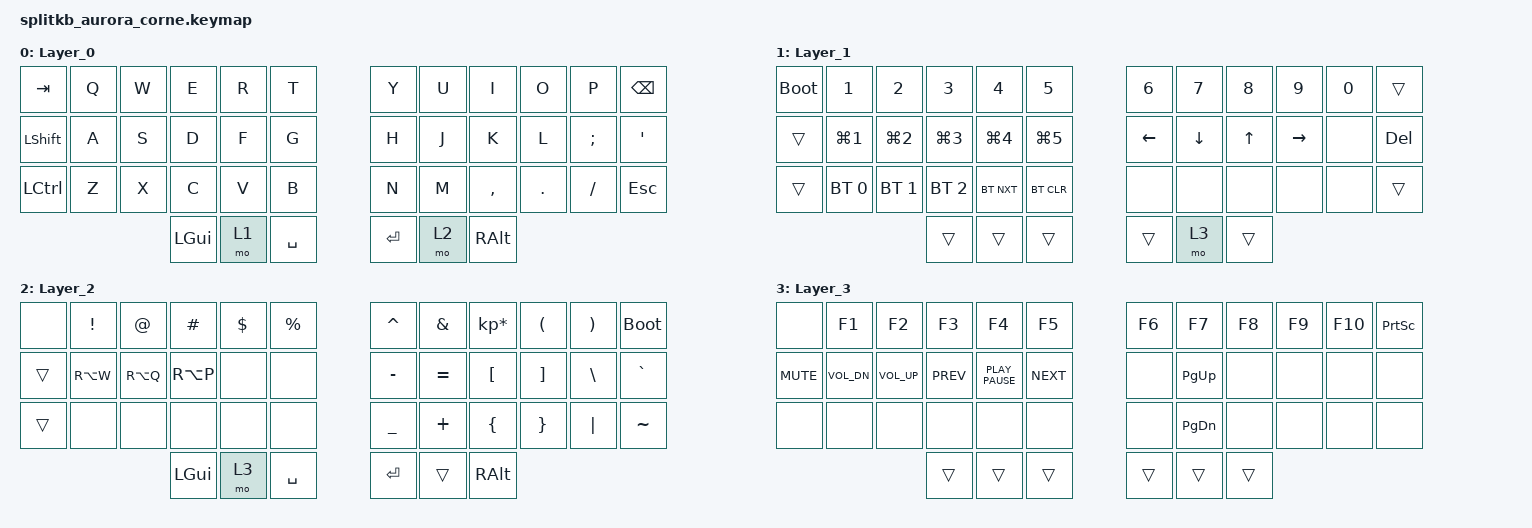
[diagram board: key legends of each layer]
/*
 * Copyright (c) 2020 The ZMK Contributors
 *
 * SPDX-License-Identifier: MIT
 */

#include <behaviors.dtsi>
#include <dt-bindings/zmk/keys.h>
#include <dt-bindings/zmk/bt.h>

/ {
    keymap {
        compatible = "zmk,keymap";

        Layer_0 {
            // -----------------------------------------------------------------------------------------
            // |  TAB |  Q  |  W  |  E  |  R  |  T  |   |  Y  |  U   |  I  |  O  |  P  | BKSP |
            // | CTRL |  A  |  S  |  D  |  F  |  G  |   |  H  |  J   |  K  |  L  |  ;  |  '   |
            // | SHFT |  Z  |  X  |  C  |  V  |  B  |   |  N  |  M   |  ,  |  .  |  /  | ESC  |
            //                    | GUI | LWR | SPC |   | ENT | RSE  | ALT |

            bindings = <
          &kp TAB   &kp Q   &kp W     &kp E   &kp R      &kp T    &kp Y   &kp U      &kp I    &kp O     &kp P  &kp BSPC
   &kp LEFT_SHIFT   &kp A   &kp S     &kp D   &kp F      &kp G    &kp H   &kp J      &kp K    &kp L  &kp SEMI   &kp SQT
 &kp LEFT_CONTROL   &kp Z   &kp X     &kp C   &kp V      &kp B    &kp N   &kp M  &kp COMMA  &kp DOT  &kp FSLH   &kp ESC
                                   &kp LGUI   &mo 1  &kp SPACE  &kp RET   &mo 2   &kp RALT
            >;
        };

        Layer_1 {
            // -----------------------------------------------------------------------------------------
            // |  TAB |  1  |  2  |  3  |  4  |  5  |   |  6  |  7  |  8  |  9  |  0  | BKSP |
            // | BTCLR| BT1 | BT2 | BT3 | BT4 | BT5 |   | LFT | DWN |  UP | RGT |     |      |
            // | SHFT |     |     |     |     |     |   |     |     |     |     |     |      |
            //                    | GUI |     | SPC |   | ENT |     | ALT |

            bindings = <
 &bootloader            &kp N1            &kp N2            &kp N3            &kp N4            &kp N5    &kp N6    &kp N7  &kp N8     &kp N9  &kp N0      &trans
      &trans  &kp LG(NUMBER_1)  &kp LG(NUMBER_2)  &kp LG(NUMBER_3)  &kp LG(NUMBER_4)  &kp LG(NUMBER_5)  &kp LEFT  &kp DOWN  &kp UP  &kp RIGHT   &none  &kp DELETE
      &trans      &bt BT_SEL 0      &bt BT_SEL 1      &bt BT_SEL 2        &bt BT_NXT        &bt BT_CLR     &none     &none   &none      &none   &none      &trans
                                                            &trans            &trans            &trans    &trans     &mo 3  &trans
            >;
        };

        Layer_2 {
            // -----------------------------------------------------------------------------------------
            // |  TAB |  !  |  @  |  #  |  $  |  %  |   |  ^  |  &  |  *  |  (  |  )  | BKSP |
            // | CTRL |     |     |     |     |     |   |  -  |  =  |  [  |  ]  |  \  |  `   |
            // | SHFT |     |     |     |     |     |   |  _  |  +  |  {  |  }  | "|" |  ~   |
            //                    | GUI |     | SPC |   | ENT |     | ALT |

            bindings = <
  &none   &kp EXCL     &kp AT   &kp HASH  &kp DLLR  &kp PRCNT  &kp CARET   &kp AMPS  &kp KP_MULTIPLY  &kp LPAR  &kp RPAR  &bootloader
 &trans  &kp RA(W)  &kp RA(Q)  &kp RA(P)     &none      &none  &kp MINUS  &kp EQUAL         &kp LBKT  &kp RBKT  &kp BSLH    &kp GRAVE
 &trans      &none      &none      &none     &none      &none  &kp UNDER   &kp PLUS         &kp LBRC  &kp RBRC  &kp PIPE    &kp TILDE
                                &kp LGUI     &mo 3  &kp SPACE    &kp RET     &trans         &kp RALT
            >;
        };

        Layer_3 {
            bindings = <
      &none        &kp F1        &kp F2      &kp F3            &kp F4      &kp F5  &kp F6         &kp F7  &kp F8  &kp F9  &kp F10  &kp PRINTSCREEN
 &kp K_MUTE  &kp K_VOL_DN  &kp K_VOL_UP  &kp K_PREV  &kp K_PLAY_PAUSE  &kp K_NEXT   &none    &kp PAGE_UP   &none   &none    &none            &none
      &none         &none         &none       &none             &none       &none   &none  &kp PAGE_DOWN   &none   &none    &none            &none
                                             &trans            &trans      &trans  &trans         &trans  &trans
            >;
        };
    };
};
